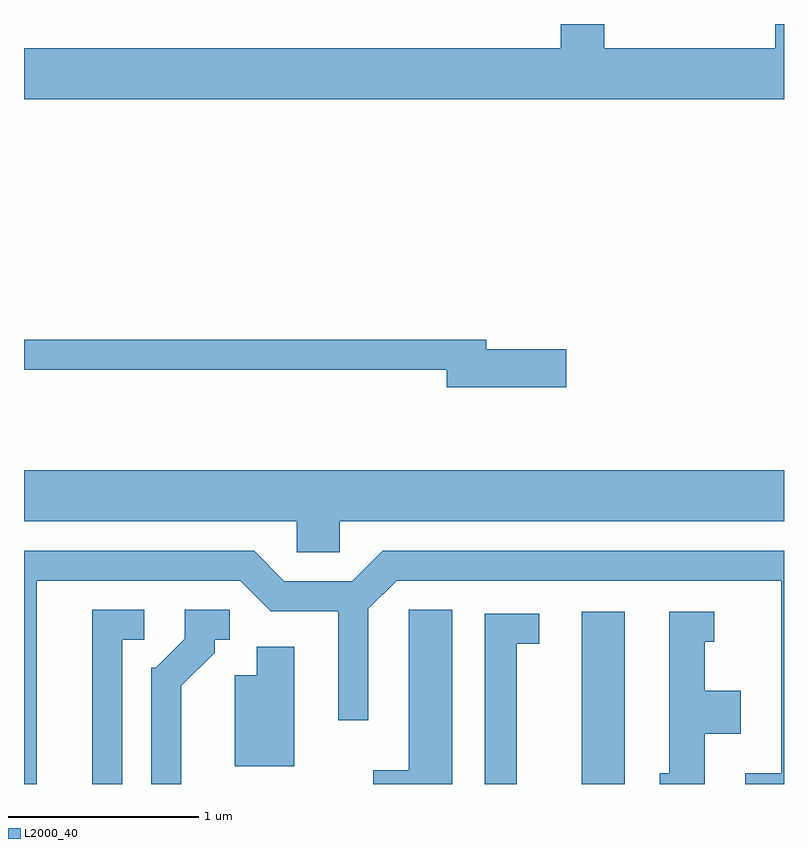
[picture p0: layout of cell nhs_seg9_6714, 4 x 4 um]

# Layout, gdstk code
import gdstk
lib = gdstk.Library(unit=1e-6, precision=1e-09)
def R(c, l, rs):  # rectangles x0, y0, x1, y1
    for r in rs: c.add(gdstk.rectangle(r[:2], r[2:], *l))
def P(c, l, *ps):  # polygons
    for p in ps: c.add(gdstk.Polygon(p, *l))
L2000_40 = (2000, 40)

nhs_seg9_6714 = lib.new_cell('nhs_seg9_6714')
R(nhs_seg9_6714, L2000_40, [(386.546,1990.432,386.774,1991.339)])
P(nhs_seg9_6714, L2000_40, [(387.611,1994.432),(387.566,1994.432),(387.566,1994.304),(386.664,1994.304),(386.664,1994.432),(386.436,1994.432),(386.436,1994.304),(383.611,1994.304),(383.611,1994.036),(387.611,1994.036)],
  [(386.464,1992.719),(386.044,1992.719),(386.044,1992.769),(383.611,1992.769),(383.611,1992.611),(385.836,1992.611),(385.836,1992.521),(386.464,1992.521)],
  [(385.274,1991.816),(387.611,1991.816),(387.611,1992.084),(383.611,1992.084),(383.611,1991.816),(385.046,1991.816),(385.046,1991.651),(385.274,1991.651)],
  [(383.679,1991.501),(384.749,1991.501),(384.909,1991.341),(385.266,1991.341),(385.266,1990.768),(385.424,1990.768),(385.424,1991.354),(385.572,1991.501),(387.596,1991.501),(387.596,1990.489),(387.408,1990.489),(387.408,1990.432),(387.611,1990.432),(387.611,1991.659),(385.499,1991.659),(385.339,1991.499),(384.982,1991.499),(384.822,1991.659),(383.611,1991.659),(383.611,1990.432),(383.679,1990.432)],
  [(384.439,1990.949),(384.614,1991.124),(384.614,1991.191),(384.693,1991.191),(384.693,1991.349),(384.456,1991.349),(384.456,1991.197),(384.304,1991.044),(384.281,1991.044),(384.281,1990.432),(384.439,1990.432)],
  [(385.864,1991.349),(385.636,1991.349),(385.636,1990.504),(385.448,1990.504),(385.448,1990.432),(385.864,1990.432)],
  [(384.129,1991.191),(384.243,1991.191),(384.243,1991.349),(383.971,1991.349),(383.971,1990.432),(384.129,1990.432)],
  [(387.194,1990.696),(387.384,1990.696),(387.384,1990.924),(387.194,1990.924),(387.194,1991.181),(387.243,1991.181),(387.243,1991.339),(387.006,1991.339),(387.006,1990.489),(386.958,1990.489),(386.958,1990.432),(387.194,1990.432)],
  [(386.204,1991.171),(386.323,1991.171),(386.323,1991.329),(386.036,1991.329),(386.036,1990.432),(386.204,1990.432)],
  [(385.034,1991.154),(384.836,1991.154),(384.836,1991.004),(384.721,1991.004),(384.721,1990.526),(385.034,1990.526)])

lib.write_gds('nhs_seg9_6714.gds')
